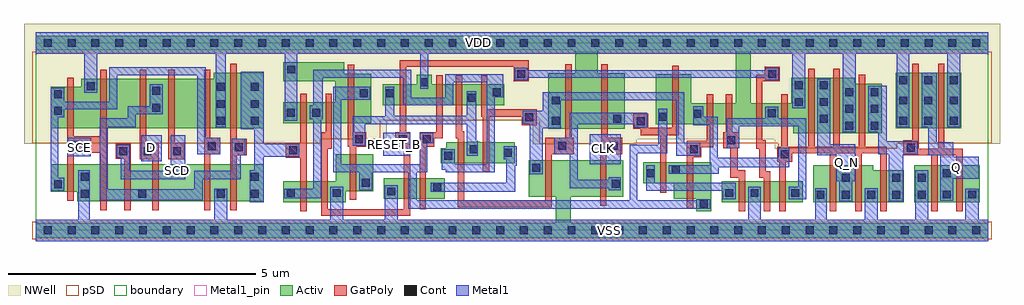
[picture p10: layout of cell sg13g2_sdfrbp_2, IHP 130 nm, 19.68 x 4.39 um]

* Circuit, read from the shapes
.subckt sg13g2_sdfrbp_2 CLK D Q Q_N RESET_B SCD SCE VDD VSS
XM1 VSS SCE n1 VSS sg13_lv_nmos w=0.55u l=0.13u
XM2 n2 SCE VSS VSS sg13_lv_nmos w=0.74u l=0.13u
XM3 n3 SCD n2 VSS sg13_lv_nmos w=0.74u l=0.13u
XM4 n4 D n3 VSS sg13_lv_nmos w=0.74u l=0.13u
XM5 VSS n1 n4 VSS sg13_lv_nmos w=0.74u l=0.13u
XM6 n5 n3 VSS VSS sg13_lv_nmos w=0.74u l=0.13u
XM7 n6 n5 n7 VSS sg13_lv_nmos w=0.42u l=0.13u
XM8 VSS RESET_B n6 VSS sg13_lv_nmos w=0.42u l=0.13u
XM9 n8 n9 VSS VSS sg13_lv_nmos w=0.74u l=0.13u
XM10 n10 RESET_B VSS VSS sg13_lv_nmos w=0.42u l=0.13u
XM11 n11 n8 n10 VSS sg13_lv_nmos w=0.42u l=0.13u
XM12 n9 n12 n7 VSS sg13_lv_nmos w=0.42u l=0.13u
XM13 n11 n13 n9 VSS sg13_lv_nmos w=0.42u l=0.13u
XM14 VSS n12 n13 VSS sg13_lv_nmos w=0.74u l=0.13u
XM15 n12 CLK VSS VSS sg13_lv_nmos w=0.74u l=0.13u
XM16 n14 n12 n15 VSS sg13_lv_nmos w=0.42u l=0.13u
XM17 n8 n13 n14 VSS sg13_lv_nmos w=0.74u l=0.13u
XM18 VSS n16 n15 VSS sg13_lv_nmos w=0.42u l=0.13u
XM19 n17 RESET_B VSS VSS sg13_lv_nmos w=0.42u l=0.13u
XM20 n16 n14 n17 VSS sg13_lv_nmos w=0.42u l=0.13u
XM21 Q_N n14 VSS VSS sg13_lv_nmos w=0.74u l=0.13u m=2
XM22 n18 n14 VSS VSS sg13_lv_nmos w=0.64u l=0.13u
XM23 Q n18 VSS VSS sg13_lv_nmos w=0.74u l=0.13u m=2
XM24 VDD SCE n1 VDD sg13_lv_pmos w=0.84u l=0.13u
XM25 n19 SCE VDD VDD sg13_lv_pmos w=1u l=0.13u
XM26 n3 D n19 VDD sg13_lv_pmos w=1u l=0.13u
XM27 n20 SCD n3 VDD sg13_lv_pmos w=1u l=0.13u
XM28 VDD n1 n20 VDD sg13_lv_pmos w=1u l=0.13u
XM29 n5 n3 VDD VDD sg13_lv_pmos w=1.12u l=0.13u
XM30 n7 n5 VDD VDD sg13_lv_pmos w=0.42u l=0.13u
XM31 VDD RESET_B n7 VDD sg13_lv_pmos w=0.42u l=0.13u
XM32 n8 n9 VDD VDD sg13_lv_pmos w=1u l=0.13u
XM33 VDD RESET_B n9 VDD sg13_lv_pmos w=0.42u l=0.13u
XM34 n21 n8 VDD VDD sg13_lv_pmos w=0.42u l=0.13u
XM35 n9 n12 n21 VDD sg13_lv_pmos w=0.42u l=0.13u
XM36 n7 n13 n9 VDD sg13_lv_pmos w=0.42u l=0.13u
XM37 VDD n12 n13 VDD sg13_lv_pmos w=1.12u l=0.13u
XM38 n12 CLK VDD VDD sg13_lv_pmos w=1.12u l=0.13u
XM39 n14 n12 n8 VDD sg13_lv_pmos w=1u l=0.13u
XM40 n22 n13 n14 VDD sg13_lv_pmos w=0.42u l=0.13u
XM41 VDD n16 n22 VDD sg13_lv_pmos w=0.42u l=0.13u
XM42 n16 RESET_B VDD VDD sg13_lv_pmos w=0.42u l=0.13u
XM43 VDD n14 n16 VDD sg13_lv_pmos w=0.42u l=0.13u
XM44 Q_N n14 VDD VDD sg13_lv_pmos w=1.12u l=0.13u m=2
XM45 n18 n14 VDD VDD sg13_lv_pmos w=1u l=0.13u
XM46 Q n18 VDD VDD sg13_lv_pmos w=1.12u l=0.13u m=2
.ends

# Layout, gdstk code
import gdstk
lib = gdstk.Library(unit=1e-6, precision=1e-09)
def R(c, l, rs):  # rectangles x0, y0, x1, y1
    for r in rs: c.add(gdstk.rectangle(r[:2], r[2:], *l))
def A(c, l, x, y, w, h, nx, ny, dx, dy):  # array of equal rectangles
    R(c, l, [(x+i*dx, y+j*dy, x+i*dx+w, y+j*dy+h) for i in range(nx) for j in range(ny)])
def P(c, l, *ps):  # polygons
    for p in ps: c.add(gdstk.Polygon(p, *l))
Activ = (1, 0)
GatPoly = (5, 0)
Cont = (6, 0)
Metal1 = (8, 0)
Metal1_pin = (8, 2)
pSD = (14, 0)
NWell = (31, 0)
boundary = (189, 4)

sg13g2_sdfrbp_2 = lib.new_cell('sg13g2_sdfrbp_2')
R(sg13g2_sdfrbp_2, Activ, [(0,-0.15,19.2,0.15), (13.83,0.57,15.46,0.99), (17.71,0.57,19.03,1.31), (7.015,0.635,8.245,1.055), (17.335,2.06,18.66,3.18)])
P(sg13g2_sdfrbp_2, Activ, [(0.295,2.06),(0.295,2.9),(0.915,2.9),(0.915,3.06),(3.59,3.06),(3.59,3.18),(4.59,3.18),(4.59,2.06)],
  [(0.835,0.59),(0.835,0.78),(0.295,0.78),(0.295,1.33),(4.595,1.33),(4.595,0.59)],
  [(15.67,0.57),(15.67,1.31),(16.88,1.31),(16.88,1.21),(17.5,1.21),(17.5,0.57)],
  [(13.32,0.39),(13.32,0.635),(12.86,0.635),(12.86,0.955),(12.245,0.955),(12.245,1.375),(13.62,1.375),(13.62,0.39)],
  [(10.33,2.05),(10.33,3.17),(10.875,3.17),(10.875,3.63),(11.33,3.63),(11.33,3.17),(11.87,3.17),(11.87,2.05)],
  [(10.48,0.15),(10.48,0.675),(9.935,0.675),(9.935,1.415),(11.845,1.415),(11.845,0.675),(10.78,0.675),(10.78,0.15)],
  [(8.165,1.36),(8.165,1.66),(8.275,1.66),(8.275,1.78),(8.705,1.78),(8.705,1.79),(8.945,1.79),(8.945,1.78),(9.66,1.78),(9.66,1.36)],
  [(6.99,2.525),(6.99,2.945),(7.68,2.945),(7.68,3.14),(7.98,3.14),(7.98,2.945),(9.445,2.945),(9.445,2.525)],
  [(4.99,0.57),(4.99,0.99),(6.045,0.99),(6.045,1.535),(6.8,1.535),(6.8,0.795),(6.245,0.795),(6.245,0.57)],
  [(15.27,1.96),(15.27,2.145),(12.495,2.145),(12.495,3.145),(13.215,3.145),(13.215,2.565),(14.11,2.565),(14.11,3.63),(0,3.63),(0,3.93),(19.2,3.93),(19.2,3.63),(14.41,3.63),(14.41,2.565),(15.23,2.565),(15.23,3.08),(16.515,3.08),(16.515,2.96),(17.06,2.96),(17.06,1.96)],
  [(4.99,2.16),(4.99,2.58),(6.04,2.58),(6.04,3.01),(4.99,3.01),(4.99,3.395),(6.215,3.395),(6.215,3.16),(6.76,3.16),(6.76,2.16)])
P(sg13g2_sdfrbp_2, GatPoly, [(1.295,0.41),(1.295,1.57),(0.765,1.57),(0.765,0.6),(0.635,0.6),(0.635,3.08),(0.765,3.08),(0.765,1.9),(1.295,1.9),(1.295,3.24),(1.425,3.24),(1.425,0.41)],
  [(2.665,1.44),(2.665,3.24),(2.795,3.24),(2.795,1.77),(2.995,1.77),(2.995,1.44)],
  [(3.39,0.41),(3.39,3.24),(3.52,3.24),(3.52,1.87),(3.72,1.87),(3.72,1.54),(3.52,1.54),(3.52,0.41)],
  [(2.35,0.41),(2.35,1.44),(2.09,1.44),(2.09,3.24),(2.22,3.24),(2.22,1.77),(2.48,1.77),(2.48,0.41)],
  [(3.92,0.41),(3.92,3.36),(4.05,3.36),(4.05,1.85),(4.25,1.85),(4.25,1.52),(4.05,1.52),(4.05,0.41)],
  [(14.68,0.39),(14.68,1.06),(14.585,1.06),(14.585,1.65),(14.52,1.65),(14.52,3.14),(14.695,3.14),(14.695,3.305),(14.995,3.305),(14.995,3.005),(14.65,3.005),(14.65,1.815),(14.715,1.815),(14.715,1.195),(14.81,1.195),(14.81,0.39)],
  [(13.12,0.445),(13.12,1.805),(13.53,1.805),(13.53,2.745),(13.66,2.745),(13.66,1.675),(13.42,1.675),(13.42,1.475),(13.25,1.475),(13.25,0.445)],
  [(1.78,0.41),(1.78,1.45),(1.61,1.45),(1.61,1.75),(1.91,1.75),(1.91,0.41)],
  [(18.05,0.39),(18.05,1.515),(17.49,1.515),(17.49,1.815),(17.675,1.815),(17.675,3.36),(17.805,3.36),(17.805,1.65),(18.19,1.65),(18.19,3.36),(18.32,3.36),(18.32,1.65),(18.69,1.65),(18.69,0.39),(18.56,0.39),(18.56,1.515),(18.18,1.515),(18.18,0.39)],
  [(14.17,0.39),(14.17,1.065),(14.005,1.065),(14.005,1.655),(13.855,1.655),(13.855,1.985),(13.91,1.985),(13.91,2.745),(14.04,2.745),(14.04,1.985),(14.185,1.985),(14.185,1.655),(14.155,1.655),(14.155,1.215),(14.3,1.215),(14.3,0.39)],
  [(12.585,0.765),(12.585,1.92),(12.2,1.92),(12.2,2.055),(12.045,2.055),(12.045,2.355),(12.345,2.355),(12.345,2.07),(12.835,2.07),(12.835,3.325),(12.965,3.325),(12.965,1.92),(12.715,1.92),(12.715,0.765)],
  [(14.99,0.39),(14.99,1.385),(14.95,1.385),(14.95,1.685),(15.03,1.685),(15.03,2.745),(15.16,2.745),(15.16,1.685),(15.57,1.685),(15.57,3.26),(15.7,3.26),(15.7,1.685),(16.08,1.685),(16.08,3.26),(16.21,3.26),(16.21,1.685),(16.59,1.685),(16.59,3.14),(16.72,3.14),(16.72,1.685),(17.16,1.685),(17.16,0.39),(17.03,0.39),(17.03,1.555),(16.65,1.555),(16.65,0.39),(16.52,0.39),(16.52,1.555),(16.14,1.555),(16.14,0.39),(16.01,0.39),(16.01,1.555),(15.25,1.555),(15.25,1.385),(15.12,1.385),(15.12,0.39)],
  [(11.375,0.495),(11.375,1.69),(11.4,1.69),(11.4,3.35),(11.53,3.35),(11.53,1.87),(11.82,1.87),(11.82,1.54),(11.505,1.54),(11.505,0.495)],
  [(8.505,0.465),(8.505,1.855),(8.465,1.855),(8.465,3.125),(8.595,3.125),(8.595,2.005),(8.635,2.005),(8.635,0.605),(10.275,0.605),(10.275,1.87),(10.675,1.87),(10.675,3.35),(10.805,3.35),(10.805,1.87),(10.85,1.87),(10.85,1.54),(10.405,1.54),(10.405,0.465)],
  [(9.015,1.18),(9.015,2.29),(8.975,2.29),(8.975,3.125),(9.105,3.125),(9.105,2.44),(10.1,2.44),(10.1,2.125),(9.8,2.125),(9.8,2.29),(9.145,2.29),(9.145,1.18)],
  [(7.735,0.425),(7.735,1.985),(8.075,1.985),(8.075,3.125),(8.205,3.125),(8.205,1.855),(8.035,1.855),(8.035,1.685),(7.865,1.685),(7.865,0.425)],
  [(5.75,0.295),(5.75,1.98),(5.84,1.98),(5.84,2.76),(5.97,2.76),(5.97,1.65),(5.88,1.65),(5.88,0.43),(7.42,0.43),(7.42,1.685),(7.25,1.685),(7.25,1.985),(7.34,1.985),(7.34,3.435),(9.935,3.435),(9.935,3.005),(9.635,3.005),(9.635,3.305),(7.47,3.305),(7.47,1.985),(7.55,1.985),(7.55,0.295)],
  [(6.33,0.615),(6.33,1.685),(6.29,1.685),(6.29,3.34),(6.42,3.34),(6.42,1.985),(6.665,1.985),(6.665,1.685),(6.46,1.685),(6.46,0.615)],
  [(5.33,0.39),(5.33,1.47),(5.035,1.47),(5.035,1.77),(5.33,1.77),(5.33,2.76),(5.46,2.76),(5.46,0.39)])
A(sg13g2_sdfrbp_2, Cont, 4.48, -0.08, 0.16, 0.16, 31, 2, 0.48, 3.78)
A(sg13g2_sdfrbp_2, Cont, 15.74, 0.64, 0.16, 0.16, 5, 1, 0.51, 0)
A(sg13g2_sdfrbp_2, Cont, 16.32, 2.03, 0.16, 0.16, 1, 3, 0, 0.34)
A(sg13g2_sdfrbp_2, Cont, 16.83, 2.03, 0.16, 0.16, 1, 3, 0, 0.34)
A(sg13g2_sdfrbp_2, Cont, 17.405, 2.135, 0.16, 0.16, 1, 3, 0, 0.405)
A(sg13g2_sdfrbp_2, Cont, 17.915, 2.135, 0.16, 0.16, 1, 3, 0, 0.405)
A(sg13g2_sdfrbp_2, Cont, 18.43, 2.135, 0.16, 0.16, 1, 3, 0, 0.405)
A(sg13g2_sdfrbp_2, Cont, 15.81, 2.17, 0.16, 0.16, 1, 3, 0, 0.34)
R(sg13g2_sdfrbp_2, Cont, [(0.16,-0.08,0.32,0.08), (0.16,-0.08,0.32,0.08), (0.64,-0.08,0.8,0.08), (0.64,-0.08,0.8,0.08), (1.12,-0.08,1.28,0.08), (1.12,-0.08,1.28,0.08), (1.6,-0.08,1.76,0.08), (1.6,-0.08,1.76,0.08), (2.08,-0.08,2.24,0.08), (2.08,-0.08,2.24,0.08), (2.56,-0.08,2.72,0.08), (2.56,-0.08,2.72,0.08), (3.04,-0.08,3.2,0.08), (3.04,-0.08,3.2,0.08), (3.52,-0.08,3.68,0.08), (3.52,-0.08,3.68,0.08), (4,-0.08,4.16,0.08), (4,-0.08,4.16,0.08), (4.48,-0.08,4.64,0.08), (13.39,0.46,13.55,0.62), (18.29,0.645,18.45,0.805), (18.8,0.645,18.96,0.805), (0.905,0.66,1.065,0.82), (2.06,0.66,2.22,0.82), (3.65,0.66,3.81,0.82), (4.33,0.66,4.49,0.82), (5.06,0.675,5.22,0.835), (5.99,0.675,6.15,0.835), (13.9,0.675,14.06,0.835), (14.41,0.675,14.57,0.835), (15.23,0.675,15.39,0.835), (7.085,0.705,7.245,0.865), (8.015,0.795,8.175,0.955), (0.365,0.85,0.525,1.01), (11.615,0.86,11.775,1.02), (6.57,0.88,6.73,1.04), (16.25,0.98,16.41,1.14), (17.27,0.98,17.43,1.14), (17.78,0.98,17.94,1.14), (0.905,1,1.065,1.16), (4.33,1,4.49,1.16), (18.29,1.07,18.45,1.23), (12.315,1.075,12.475,1.235), (12.825,1.145,12.985,1.305), (10.005,1.185,10.165,1.345), (8.235,1.43,8.395,1.59), (15.02,1.455,15.18,1.615), (9.43,1.49,9.59,1.65), (1.68,1.52,1.84,1.68), (2.17,1.52,2.33,1.68), (2.765,1.52,2.925,1.68), (5.105,1.54,5.265,1.7), (8.745,1.56,8.905,1.72), (13.19,1.56,13.35,1.72), (17.56,1.585,17.72,1.745), (4.01,1.6,4.17,1.76), (3.47,1.62,3.63,1.78), (10.535,1.625,10.695,1.785), (11.575,1.625,11.735,1.785), (0.705,1.65,0.865,1.81), (13.94,1.74,14.1,1.9), (6.435,1.755,6.595,1.915), (7.32,1.755,7.48,1.915), (7.805,1.755,7.965,1.915), (12.115,2.125,12.275,2.285), (3.65,2.13,3.81,2.29), (4.33,2.13,4.49,2.29), (10.4,2.135,10.56,2.295), (11.64,2.175,11.8,2.335), (9.87,2.2,10.03,2.36), (12.565,2.215,12.725,2.375), (13.26,2.275,13.42,2.435), (14.76,2.285,14.92,2.445), (5.06,2.29,5.22,2.45), (5.57,2.295,5.73,2.455), (0.365,2.33,0.525,2.49), (2.35,2.395,2.51,2.555), (3.65,2.47,3.81,2.63), (4.33,2.47,4.49,2.63), (15.3,2.51,15.46,2.67), (10.4,2.54,10.56,2.7), (8.705,2.595,8.865,2.755), (0.365,2.67,0.525,2.83), (6.53,2.69,6.69,2.85), (7.06,2.69,7.22,2.85), (9.215,2.705,9.375,2.865), (2.35,2.735,2.51,2.895), (3.65,2.82,3.81,2.98), (4.33,2.82,4.49,2.98), (1.025,2.83,1.185,2.99), (15.3,2.85,15.46,3.01), (7.75,2.91,7.91,3.07), (9.705,3.075,9.865,3.235), (14.765,3.075,14.925,3.235), (5.065,3.165,5.225,3.325), (0.16,3.7,0.32,3.86), (0.16,3.7,0.32,3.86), (0.64,3.7,0.8,3.86), (0.64,3.7,0.8,3.86), (1.12,3.7,1.28,3.86), (1.12,3.7,1.28,3.86), (1.6,3.7,1.76,3.86), (1.6,3.7,1.76,3.86), (2.08,3.7,2.24,3.86), (2.08,3.7,2.24,3.86), (2.56,3.7,2.72,3.86), (2.56,3.7,2.72,3.86), (3.04,3.7,3.2,3.86), (3.04,3.7,3.2,3.86), (3.52,3.7,3.68,3.86), (3.52,3.7,3.68,3.86), (4,3.7,4.16,3.86), (4,3.7,4.16,3.86), (4.48,3.7,4.64,3.86)])
R(sg13g2_sdfrbp_2, Metal1, [(11.165,1.335,11.79,1.935), (2.12,1.4,2.535,1.92), (0.635,1.5,1.105,1.87), (7,1.51,7.55,1.965)])
P(sg13g2_sdfrbp_2, Metal1, [(0,-0.22),(0,0.22),(0.855,0.22),(0.855,1.21),(1.09,1.21),(1.09,0.22),(3.6,0.22),(3.6,0.845),(3.86,0.845),(3.86,0.22),(5.94,0.22),(5.94,0.885),(6.2,0.885),(6.2,0.22),(7.035,0.22),(7.035,0.915),(7.295,0.915),(7.295,0.22),(14.36,0.22),(14.36,0.885),(14.62,0.885),(14.62,0.22),(15.71,0.22),(15.71,0.85),(15.95,0.85),(15.95,0.22),(16.71,0.22),(16.71,0.85),(16.97,0.85),(16.97,0.22),(17.73,0.22),(17.73,1.21),(17.99,1.21),(17.99,0.22),(18.735,0.22),(18.735,0.84),(19.01,0.84),(19.01,0.22),(19.2,0.22),(19.2,-0.22)],
  [(16.27,1.98),(16.27,3.56),(15.51,3.56),(15.51,2.46),(15.25,2.46),(15.25,3.56),(7.915,3.56),(7.915,2.86),(7.745,2.86),(7.745,3.56),(5.27,3.56),(5.27,2.215),(5.015,2.215),(5.015,3.56),(3.83,3.56),(3.83,2.08),(3.63,2.08),(3.63,3.56),(1.235,3.56),(1.235,2.78),(0.975,2.78),(0.975,3.56),(0,3.56),(0,4),(19.2,4),(19.2,3.56),(18.64,3.56),(18.64,2.085),(18.38,2.085),(18.38,3.56),(17.615,3.56),(17.615,2.085),(17.355,2.085),(17.355,3.56),(16.53,3.56),(16.53,1.98)],
  [(4.315,0.57),(4.315,1.21),(4.4,1.21),(4.4,2.04),(4.135,2.04),(4.135,3.2),(4.59,3.2),(4.59,1.75),(5.315,1.75),(5.315,1.49),(4.59,1.49),(4.59,0.57)],
  [(1.285,0.61),(1.285,2.26),(1.855,2.26),(1.855,2.505),(2.3,2.505),(2.3,2.945),(2.56,2.945),(2.56,2.345),(2.015,2.345),(2.015,2.08),(1.45,2.08),(1.45,0.83),(3.195,0.83),(3.195,1.2),(3.945,1.2),(3.945,1.85),(4.22,1.85),(4.22,1.52),(4.135,1.52),(4.135,1.03),(3.365,1.03),(3.365,0.61)],
  [(0.295,0.8),(0.295,2.88),(0.575,2.88),(0.575,2.6),(1.48,2.6),(1.48,3.295),(3.425,3.295),(3.425,1.87),(3.72,1.87),(3.72,1.54),(3.25,1.54),(3.25,3.125),(1.64,3.125),(1.64,2.44),(0.575,2.44),(0.575,2.28),(0.455,2.28),(0.455,1.06),(0.575,1.06),(0.575,0.8)],
  [(1.71,1.03),(1.71,1.47),(1.63,1.47),(1.63,1.73),(1.89,1.73),(1.89,1.2),(2.715,1.2),(2.715,1.92),(3.015,1.92),(3.015,1.03)],
  [(18.24,0.595),(18.24,1.515),(17.99,1.515),(17.99,2.085),(17.865,2.085),(17.865,3.175),(18.16,3.175),(18.16,1.775),(18.5,1.775),(18.5,1.49),(19.01,1.49),(19.01,1.045),(18.5,1.045),(18.5,0.595)],
  [(5.01,0.645),(5.01,0.84),(5.59,0.84),(5.59,2.24),(5.52,2.24),(5.52,2.52),(5.59,2.52),(5.59,3.24),(7.565,3.24),(7.565,2.68),(8.255,2.68),(8.255,3.145),(9.425,3.145),(9.425,2.685),(9.25,2.685),(9.25,1.17),(8.265,1.17),(8.265,1.225),(8.185,1.225),(8.185,1.64),(8.445,1.64),(8.445,1.33),(9.09,1.33),(9.09,2.985),(8.415,2.985),(8.415,2.52),(7.405,2.52),(7.405,3.08),(5.78,3.08),(5.78,2.24),(5.75,2.24),(5.75,0.645)],
  [(9.655,3.025),(9.655,3.285),(9.915,3.285),(9.915,3.235),(14.71,3.235),(14.71,3.285),(14.98,3.285),(14.98,3.025),(14.71,3.025),(14.71,3.075),(9.915,3.075),(9.915,3.025)],
  [(11.555,0.81),(11.555,0.855),(10.765,0.855),(10.765,1.54),(10.45,1.54),(10.45,1.87),(10.765,1.87),(10.765,2.37),(12.325,2.37),(12.325,2.075),(12.065,2.075),(12.065,2.145),(10.925,2.145),(10.925,1.025),(11.555,1.025),(11.555,1.07),(11.79,1.07),(11.79,0.81)],
  [(7.505,0.44),(7.505,1.17),(6.78,1.17),(6.78,0.815),(6.52,0.815),(6.52,1.17),(6,1.17),(6,2.9),(6.74,2.9),(6.74,2.64),(6.16,2.64),(6.16,1.33),(7.735,1.33),(7.735,1.965),(8.015,1.965),(8.015,1.755),(7.895,1.755),(7.895,1.17),(7.675,1.17),(7.675,0.605),(11.97,0.605),(11.97,1.725),(12.545,1.725),(12.545,2.45),(12.735,2.45),(12.735,1.555),(12.13,1.555),(12.13,0.605),(13.34,0.605),(13.34,0.625),(13.6,0.625),(13.6,0.44)],
  [(17.2,0.59),(17.2,1.535),(16.99,1.535),(16.99,1.98),(16.78,1.98),(16.78,2.92),(17.16,2.92),(17.16,1.795),(17.785,1.795),(17.785,1.535),(17.485,1.535),(17.485,0.59)],
  [(16.195,0.59),(16.195,0.99),(16.14,0.99),(16.14,1.52),(15.76,1.52),(15.76,3.06),(16.02,3.06),(16.02,1.74),(16.52,1.74),(16.52,0.99),(16.46,0.99),(16.46,0.59)],
  [(15.18,0.625),(15.18,0.885),(15.37,0.885),(15.37,2.1),(14.185,2.1),(14.185,1.655),(13.93,1.655),(13.93,2.26),(14.71,2.26),(14.71,2.495),(14.97,2.495),(14.97,2.26),(15.53,2.26),(15.53,0.625)],
  [(12.76,1.145),(12.76,1.315),(13.59,1.315),(13.59,2.125),(13.255,2.125),(13.255,2.5),(13.46,2.5),(13.46,2.295),(13.75,2.295),(13.75,1.465),(14.965,1.465),(14.965,1.665),(15.19,1.665),(15.19,1.275),(13.77,1.275),(13.77,1.145)],
  [(13.85,0.625),(13.85,0.805),(12.31,0.805),(12.31,1.31),(12.48,1.31),(12.48,0.965),(14.11,0.965),(14.11,0.625)],
  [(9.955,1.135),(9.955,2.15),(9.82,2.15),(9.82,2.41),(10.225,2.41),(10.225,2.79),(13.075,2.79),(13.075,1.77),(13.4,1.77),(13.4,1.51),(12.915,1.51),(12.915,2.63),(10.585,2.63),(10.585,2.06),(10.215,2.06),(10.215,1.135)],
  [(7.965,0.785),(7.965,0.96),(9.485,0.96),(9.485,1.44),(9.43,1.44),(9.43,1.7),(9.695,1.7),(9.695,1.3),(9.665,1.3),(9.665,0.785)],
  [(8.69,1.51),(8.69,2.145),(6.645,2.145),(6.645,1.705),(6.385,1.705),(6.385,2.305),(7.045,2.305),(7.045,2.9),(7.225,2.9),(7.225,2.315),(8.69,2.315),(8.69,2.805),(8.875,2.805),(8.875,1.81),(8.91,1.81),(8.91,1.51)])
R(sg13g2_sdfrbp_2, Metal1_pin, [(0,-0.22,19.2,0.22), (16.14,0.99,16.52,1.74), (2.715,1.03,3.015,1.92), (18.24,1.045,19.01,1.49), (11.165,1.335,11.79,1.935), (2.12,1.4,2.535,1.92), (0.635,1.5,1.105,1.87), (7,1.51,7.55,1.965), (0,3.56,19.2,4)])
R(sg13g2_sdfrbp_2, pSD, [(-0.07,-0.18,19.27,0.18)])
P(sg13g2_sdfrbp_2, pSD, [(14.97,1.66),(14.97,1.76),(12.045,1.76),(12.045,1.75),(10.15,1.75),(10.15,2.225),(6.94,2.225),(6.94,1.835),(5.745,1.835),(5.745,1.76),(-0.07,1.76),(-0.07,3.6),(19.27,3.6),(19.27,1.76),(17.36,1.76),(17.36,1.66)])
P(sg13g2_sdfrbp_2, NWell, [(14.895,1.65),(14.895,1.835),(12.115,1.835),(12.115,1.74),(10.02,1.74),(10.02,2.215),(7.07,2.215),(7.07,1.85),(5.735,1.85),(5.735,1.75),(-0.24,1.75),(-0.24,4.17),(19.44,4.17),(19.44,1.75),(17.37,1.75),(17.37,1.65)])
R(sg13g2_sdfrbp_2, boundary, [(0,0,19.2,3.78)])
sg13g2_sdfrbp_2.add(gdstk.Label('D', (2.33,1.68), layer=8, texttype=25))
sg13g2_sdfrbp_2.add(gdstk.Label('Q_N', (16.335,1.38), layer=8, texttype=25))
sg13g2_sdfrbp_2.add(gdstk.Label('CLK', (11.445,1.655), layer=8, texttype=25))
sg13g2_sdfrbp_2.add(gdstk.Label('VDD', (8.925,3.78), layer=8, texttype=25))
sg13g2_sdfrbp_2.add(gdstk.Label('SCD', (2.865,1.21), layer=8, texttype=25))
sg13g2_sdfrbp_2.add(gdstk.Label('VSS', (11.57,0), layer=8, texttype=25))
sg13g2_sdfrbp_2.add(gdstk.Label('Q', (18.56,1.265), layer=8, texttype=25))
sg13g2_sdfrbp_2.add(gdstk.Label('SCE', (0.875,1.68), layer=8, texttype=25))
sg13g2_sdfrbp_2.add(gdstk.Label('RESET_B', (7.235,1.73), layer=8, texttype=25))

lib.write_gds('sg13g2_sdfrbp_2.gds')
